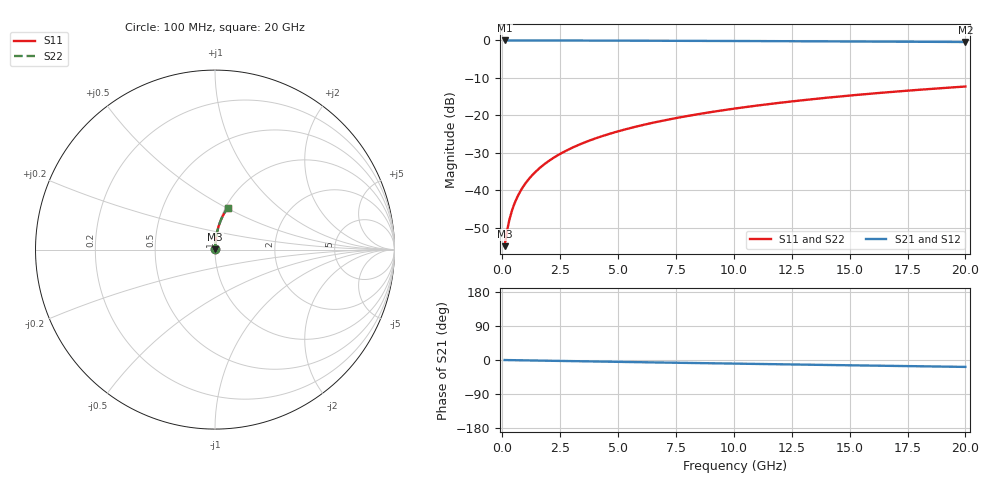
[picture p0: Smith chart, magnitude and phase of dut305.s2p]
! Touchstone file exported from HFSS 2024.1.0
!  File:  C:/UserFiles/LocalFiles/RDL_TSV_Batchsim/temp_RDL_top_305_1779606368.aedt
!  Generated:  03:08:48 PM May 24, 2026
!  Design:  RDL_top
!  Project:  temp_RDL_top_305_1779606368
!  Setup:  Setup1
!  Solution:  Sweep
! Variables:
!  dtsv = 10.80580581um
!  hbump = 3um
!  htsv = 66.39um
!  ldown = 100um
!  lrdl = 189.47um
!  p = 40
!  p1 = 53.73um
!  rhole = 1um
!  t = 450um
!  tdown = 3.915915916um
!  trdl = 4.82um
!  wdown = 15.38538539um
!  wrdl = 11.8um
# GHz S MA R 50.000000
! Terminal data exported
! Port[1] = Box2_T1
! Port[2] = Box2_T2
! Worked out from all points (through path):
!   200 points, 100 MHz to 20 GHz, reference 50 ohm
!   highest |S21| = -0.01 dB at 100 MHz (marker M1); lowest = -0.4 dB at 20 GHz (marker M2)
!   group delay of S21, straight-line fit = 2.52 ps
!   lowest |S11| = -54.9 dB at 100 MHz (marker M3), VSWR 1.00, Z = 50.1 + j0.126 ohm
!   |S11| at or under -10 dB: start of sweep to end of sweep
!   |S22| runs from -54.9 to -12.3 dB; largest |S21 - S12| = 2.8e-15
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0.1  0.001797 44.3  0.9987 -0.1  0.9987 -0.1  0.001797 44.3
! Gamma 0 0 0 0
! Port Impedance 50 0 50 0
0.2  0.002825 62.4  0.9987 -0.2  0.9987 -0.2  0.002825 62.4
0.3  0.003971 70.2  0.9987 -0.3  0.9987 -0.3  0.003971 70.2
0.4  0.00515 74.5  0.9986 -0.4  0.9986 -0.4  0.00515 74.5
0.5  0.006341 77.2  0.9986 -0.5  0.9986 -0.5  0.006341 77.2
0.6  0.00754 79.0  0.9985 -0.6  0.9985 -0.6  0.00754 79.0
0.8  0.009949 81.3  0.9984 -0.8  0.9984 -0.8  0.009949 81.3
1.1  0.01358 83.2  0.9983 -1.1  0.9983 -1.1  0.01358 83.2
1.5  0.01845 84.5  0.998 -1.5  0.998 -1.5  0.01845 84.5
1.8  0.0221 85.0  0.9978 -1.8  0.9978 -1.8  0.0221 85.0
2.1  0.02576 85.3  0.9975 -2.1  0.9975 -2.1  0.02576 85.3
2.7  0.03308 85.5  0.9969 -2.7  0.9969 -2.7  0.03308 85.5
3.5  0.04286 85.5  0.9959 -3.5  0.9959 -3.5  0.04286 85.5
4.2  0.05142 85.3  0.9948 -4.2  0.9948 -4.2  0.05142 85.3
5  0.06122 84.9  0.9934 -4.9  0.9934 -4.9  0.06122 84.9
5.9  0.07226 84.5  0.9917 -5.8  0.9917 -5.8  0.07226 84.5
6.8  0.08333 83.9  0.9898 -6.6  0.9898 -6.6  0.08333 83.9
8.3  0.1018 82.9  0.9864 -8.0  0.9864 -8.0  0.1018 82.9
10.1  0.124 81.6  0.982 -9.6  0.982 -9.6  0.124 81.6
13.4  0.1644 78.9  0.9732 -12.6  0.9732 -12.6  0.1644 78.9
16.7  0.2041 76.1  0.9634 -15.4  0.9634 -15.4  0.2041 76.1
20  0.2426 73.3  0.9527 -18.2  0.9527 -18.2  0.2426 73.3
